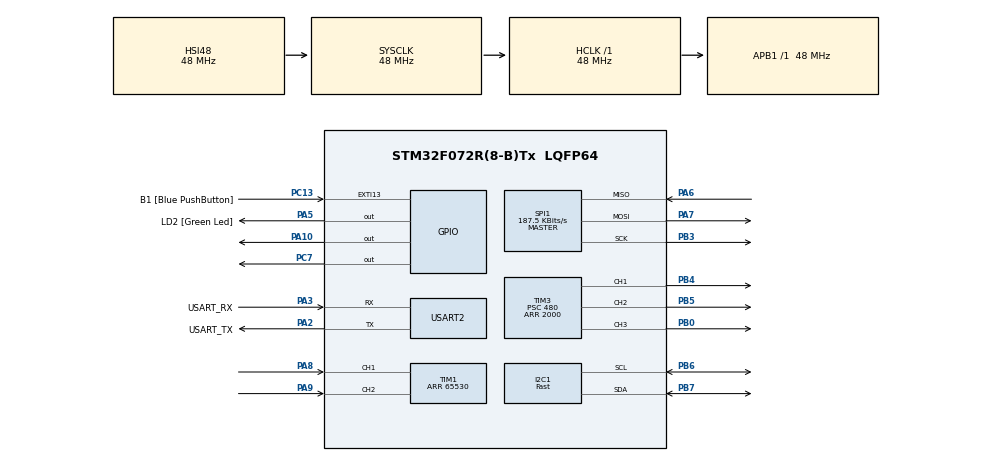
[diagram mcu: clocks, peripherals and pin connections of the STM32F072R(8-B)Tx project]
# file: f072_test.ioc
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Mcu.Family=STM32F0
PA2.GPIO_PuPd=GPIO_NOPULL
PA6.Mode=Full_Duplex_Master
I2C1.I2C_Speed_Mode=I2C_Fast
SPI1.VirtualType=VM_MASTER
PA14.GPIO_Label=TCK
Dma.TIM3_CH4/UP.0.Mode=DMA_CIRCULAR
PA3.GPIO_PuPd=GPIO_NOPULL
PA2.GPIO_Speed=GPIO_SPEED_FREQ_LOW
PC13.GPIO_Label=B1 [Blue PushButton]
PA3.GPIO_Speed=GPIO_SPEED_FREQ_LOW
RCC.SYSCLKSource=RCC_SYSCLKSOURCE_HSI48
ProjectManager.StackSize=0x400
NVIC.I2C1_IRQn=true\:0\:0\:false\:false\:true\:true\:true
SPI1.CLKPolarity=SPI_POLARITY_LOW
SPI1.Direction=SPI_DIRECTION_2LINES
RCC.HCLKFreq_Value=48000000
TIM3.Period=2000
PB6.Signal=I2C1_SCL
TIM3.OC1Preload_PWM=DISABLE
PC7.Signal=GPIO_Output
PB6.Mode=I2C
SPI1.CalculateBaudRate=187.5 KBits/s
RCC.AHBFreq_Value=48000000
TIM3.Channel-PWM\ Generation1\ CH1=TIM_CHANNEL_1
RCC.PREFETCH_ENABLE-AdvancedSettings=1
PB3.Mode=Full_Duplex_Master
USART2.VirtualMode-Asynchronous=VM_ASYNC
RCC.PLLMUL=RCC_PLL_MUL12
PC14-OSC32_IN.Mode=LSE-External-Oscillator
PA14.Mode=Serial_Wire
TIM3.Prescaler=480
PA5.GPIO_PuPd=GPIO_NOPULL
SPI1.DataSize=SPI_DATASIZE_8BIT
PB7.Signal=I2C1_SDA
PA8.Signal=S_TIM1_CH1
SH.S_TIM3_CH1.0=TIM3_CH1,PWM Generation1 CH1
RCC.FLatency-AdvancedSettings=FLASH_LATENCY_1
Mcu.Package=LQFP64
PA6.Signal=SPI1_MISO
Dma.TIM3_CH4/UP.0.Priority=DMA_PRIORITY_LOW
USART2.VirtualMode=VM_ASYNC
PA2.GPIO_Label=USART_TX
PA10.Signal=GPIO_Output
Dma.TIM3_CH4/UP.0.Direction=DMA_MEMORY_TO_PERIPH
RCC.APB1TimFreq_Value=48000000
TIM1.Period=65530
Dma.Request0=TIM3_CH4/UP
SPI1.BaudRatePrescaler=SPI_BAUDRATEPRESCALER_256
Dma.TIM3_CH4/UP.0.PeriphDataAlignment=DMA_PDATAALIGN_HALFWORD
VP_TIM3_VS_ClockSourceINT.Mode=Internal
PF1-OSC_OUT.Signal=RCC_OSC_OUT
PB4.Signal=S_TIM3_CH1
PA3.Signal=USART2_RX
PA2.GPIO_Mode=GPIO_MODE_AF_PP
PC15-OSC32_OUT.Mode=LSE-External-Oscillator
PC7.GPIO_ModeDefaultOutputPP=GPIO_MODE_OUTPUT_OD
PA7.Mode=Full_Duplex_Master
PC13.Signal=GPXTI13
SPI1.CLKPhase=SPI_PHASE_1EDGE
PC14-OSC32_IN.Signal=RCC_OSC32_IN
SH.S_TIM3_CH3.0=TIM3_CH3,PWM Generation3 CH3
PA13.Signal=SYS_SWDIO
PA3.Mode=Asynchronous
TIM3.Channel-PWM\ Generation3\ CH3=TIM_CHANNEL_3
SH.S_TIM1_CH1.0=TIM1_CH1,Encoder_Interface
ProjectManager.TargetToolchain=SW4STM32
PA3.GPIO_Mode=GPIO_MODE_AF_PP
PA9.Signal=S_TIM1_CH2
I2C1.Timing=0x0000020B
Dma.TIM3_CH4/UP.0.Instance=DMA1_Channel3
RCC.PLLDivider=RCC_PREDIV_DIV2
PC15-OSC32_OUT.Signal=RCC_OSC32_OUT
PF0-OSC_IN.Mode=HSE-External-Clock-Source
PA5.Signal=GPIO_Output
SH.S_TIM3_CH2.0=TIM3_CH2,PWM Generation2 CH2
board=NUCLEO-F072RB
SH.S_TIM1_CH2.0=TIM1_CH2,Encoder_Interface
SPI1.Mode=SPI_MODE_MASTER
Dma.TIM3_CH4/UP.0.MemInc=DMA_MINC_ENABLE
PA13.Mode=Serial_Wire
Mcu.Name=STM32F072R(8-B)Tx
PA2.Signal=USART2_TX
PA13.GPIO_Label=TMS
PB3.Signal=SPI1_SCK
RCC.SYSCLKFreq_VALUE=48000000
PB5.Signal=S_TIM3_CH2
PA5.GPIO_Label=LD2 [Green Led]
PC13.GPIO_ModeDefaultEXTI=GPIO_MODE_IT_FALLING
PB7.Mode=I2C
PA14.Signal=SYS_SWCLK
ProjectManager.HeapSize=0x200
Dma.TIM3_CH4/UP.0.MemDataAlignment=DMA_MDATAALIGN_HALFWORD
PA5.GPIO_Speed=GPIO_SPEED_FREQ_LOW
TIM3.Channel-PWM\ Generation2\ CH2=TIM_CHANNEL_2
NVIC.DMA1_Channel2_3_IRQn=true\:0\:0\:false\:false\:true\:false\:true
PA2.Mode=Asynchronous
PF0-OSC_IN.Signal=RCC_OSC_IN
RCC.APB1Freq_Value=48000000
PA5.GPIO_Mode=GPIO_MODE_OUTPUT_PP
PB0.Signal=S_TIM3_CH3
Dma.TIM3_CH4/UP.0.PeriphInc=DMA_PINC_DISABLE
PA3.GPIO_Label=USART_RX
PA7.Signal=SPI1_MOSI

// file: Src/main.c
/* USER CODE BEGIN Header */
/**
  ******************************************************************************
  * @file           : main.c
  * @brief          : Main program body
  ******************************************************************************
  * @attention
  *
  * <h2><center>&copy; Copyright (c) 2020 STMicroelectronics.
  * All rights reserved.</center></h2>
  *
  * This software component is licensed by ST under BSD 3-Clause license,
  * the "License"; You may not use this file except in compliance with the
  * License. You may obtain a copy of the License at:
  *                        opensource.org/licenses/BSD-3-Clause
  *
  ******************************************************************************
  */
/* USER CODE END Header */

#include "main.h"

I2C_HandleTypeDef hi2c1;

SPI_HandleTypeDef hspi1;

TIM_HandleTypeDef htim1;
TIM_HandleTypeDef htim3;
DMA_HandleTypeDef hdma_tim3_ch4_up;

UART_HandleTypeDef huart2;

/* USER CODE BEGIN PV */
#define AS1130_SETUP_NUM_STEPS 16
const uint8_t AS1130_setup_sizes[AS1130_SETUP_NUM_STEPS] = {
  2, 2, // CONFIG
  2, 2, // CLK
  2, 2, // CURR
  2, 2, // DSP/
  2, 2, // SHDN
  2, 2, // PIC_EN
  2, 25, // ON-OFF
  2, 157, // PX0
}; // configuration problem: can't change frames after either on-off register or pic-en it seems
const uint8_t AS1130_setup[] = {
  0xFD, 0xC0,
  0x06, 0b10100001, // CONFIG

  0xFD, 0xC0,
  0x0B, 0b1110, // CLK

  0xFD, 0xC0,
  0x05, 0x40, // CURR

  0xFD, 0xC0,
  0x04, 0xEB, // DSP

  0xFD, 0xC0,
  0x09, 0b10111, // SHDN

  0xFD, 0xC0,
  0x00, 0x40, // PIC_EN

  0xFD, 0x01, // ON-OFF
  0x00,
    0xFF, 0x07, // select PWM frame 0
    0xFF, 0x07, 0xFF, 0x07, 0xFF, 0x07, 0xFF, 0x07, 0xFF, 0x07, 0xFF, 0x07, 0xFF, 0x07, 0xFF, 0x07, 0xFF, 0x07, 0xFF, 0x07, 0xFF, 0x07,

  0xFD, 0x40,
  0x00, // PX
	0,0,0,0,0,0,0,0,0,0,0,0,0,0,0,0,0,0,0,0,0,0,0,0, // no blink
	// unset all pxs
	0, 0, 0, 0, 0, 0, 0, 0, 0, 0, 0, 0,
	0, 0, 0, 0, 0, 0, 0, 0, 0, 0, 0, 0,
	0, 0, 0, 0, 0, 0, 0, 0, 0, 0, 0, 0,
	0, 0, 0, 0, 0, 0, 0, 0, 0, 0, 0, 0,
	0, 0, 0, 0, 0, 0, 0, 0, 0, 0, 0, 0,
	0, 0, 0, 0, 0, 0, 0, 0, 0, 0, 0, 0,
	0, 0, 0, 0, 0, 0, 0, 0, 0, 0, 0, 0,
	0, 0, 0, 0, 0, 0, 0, 0, 0, 0, 0, 0,
	0, 0, 0, 0, 0, 0, 0, 0, 0, 0, 0, 0,
	0, 0, 0, 0, 0, 0, 0, 0, 0, 0, 0, 0,
	0, 0, 0, 0, 0, 0, 0, 0, 0, 0, 0, 0,

};
#define PWM_PRE_SIZE 2
uint8_t PWM_PRE[PWM_PRE_SIZE] = { 0xFD, 0x01 };
// uint8_t PWM_ADDR = 0x18;
volatile uint8_t px[PX_SIZE] = { 0 };
uint8_t e = 0;

// TEMP

uint8_t d[12] = { 0 };
uint8_t g[24] = { 0 };
uint8_t a[32] = { 0 };
const uint8_t f[2] = { 0xFD, 0x01 };
const uint8_t h[2] = { 0xFD, 0xC0 };
const uint8_t k[2] = { 0xFD, 0x40 };
uint8_t z = 0x0;
uint8_t zz = 0x20;
uint8_t zzz = 0x0E;

/* USER CODE END PV */

void SystemClock_Config(void);
static void MX_GPIO_Init(void);
static void MX_DMA_Init(void);
static void MX_USART2_UART_Init(void);
static void MX_I2C1_Init(void);
static void MX_SPI1_Init(void);
static void MX_TIM3_Init(void);
static void MX_TIM1_Init(void);
/* USER CODE BEGIN PFP */
static void AS1130_Init(void);
static void AS1130_reg_dump(void);
/* USER CODE END PFP */

/* USER CODE BEGIN 0 */
uint8_t rx[2], config[2] = {0};
/* USER CODE END 0 */

int main(void)
{

  /* MCU Configuration--------------------------------------------------------*/

  /* Reset of all peripherals, Initializes the Flash interface and the Systick. */
  HAL_Init();

  /* Configure the system clock */
  SystemClock_Config();

  /* Initialize all configured peripherals */
  MX_GPIO_Init();
  MX_DMA_Init();
  MX_USART2_UART_Init();
  MX_I2C1_Init();
  MX_SPI1_Init();
  MX_TIM3_Init();
  MX_TIM1_Init();
  /* USER CODE BEGIN 2 */
  HAL_TIM_Base_Start(&htim1);
  htim3.Instance->CCER |= TIM_CCER_CC1E | TIM_CCER_CC2E | TIM_CCER_CC3E;
  htim3.Instance->CR1 |= TIM_CR1_CEN;

//  __HAL_TIM_SET_COMPARE(&htim3, TIM_CHANNEL_1, 150);
//  __HAL_TIM_SET_COMPARE(&htim3, TIM_CHANNEL_2, 1500);
//  __HAL_TIM_SET_COMPARE(&htim3, TIM_CHANNEL_3, 1000);

  HAL_GPIO_WritePin(GPIOC, GPIO_PIN_7, RESET);
  HAL_Delay(5);
  HAL_GPIO_WritePin(GPIOC, GPIO_PIN_7, SET);
  AS1130_Init();
  HAL_Delay(50);
//  uint8_t tims[] = {150, 160, 140};
//  uint8_t tim_idx = 32;
//  __HAL_TIM_SET_COMPARE(&htim3, TIM_CHANNEL_1, 150);
  uint8_t edge = 0;
//  HAL_I2C_Master_Transmit(&hi2c1, AS1130_ADDR, px, PX_SIZE, -1);

  /* USER CODE END 2 */

  /* Infinite loop */
  /* USER CODE BEGIN WHILE */
  uint8_t i = 0;
  while(1)
  {
    /* USER CODE END WHILE */

    /* USER CODE BEGIN 3 */
//	  if(HAL_GPIO_ReadPin(B1_GPIO_Port, B1_Pin) == GPIO_PIN_RESET && !edge) {
//		  edge = 1;
//	  	  if(hi2c1.State == HAL_I2C_STATE_READY) {
////	  		  px[(i >> 3) + 1] |= 1 << (i & 7);
////	  		  for(uint8_t j = 1; j < PX_SIZE; j++) {
////	  			  px[j] = 1 << (i & 7);
////	  		  }
////	  		  px[2] &= 0x1F; // preserve PWM frame
//	  		  px[0] = 0x18 + i;
//	  		  px[1] = 0x80;
//	  		  HAL_I2C_Master_Transmit(&hi2c1, AS1130_ADDR, px, 2, -1);
//	  	  }
//  		  i++;
//	  }
//	  if(HAL_GPIO_ReadPin(B1_GPIO_Port, B1_Pin) == GPIO_PIN_SET)
//		  edge = 0;
	  for(uint8_t i = 0; i < 132; i++) {
		  if(hi2c1.State == HAL_I2C_STATE_READY) {
	//	  		  px[(i >> 3) + 1] |= 1 << (i & 7);
	//	  		  for(uint8_t j = 1; j < PX_SIZE; j++) {
	//	  			  px[j] = 1 << (i & 7);
	//	  		  }
	//	  		  px[2] &= 0x1F; // preserve PWM frame
			  px[0] = 0x18 + i;
			  px[1] = 0x00;
			  HAL_I2C_Master_Transmit(&hi2c1, AS1130_ADDR, k, 2, -1);
			  HAL_I2C_Master_Transmit(&hi2c1, AS1130_ADDR, px, 2, -1);
			  px[0] = 0x18 + ((i + 1) % 132);
			  px[1] = 0x80;
			  HAL_I2C_Master_Transmit(&hi2c1, AS1130_ADDR, px, 2, -1);
		  }
		  HAL_Delay(15);
		  AS1130_reg_dump();
	  }
//
//	  HAL_GPIO_WritePin(LD2_GPIO_Port, LD2_Pin, tim_idx & 1);

//	  HAL_GPIO_WritePin(GPIOA, GPIO_PIN_10, i & 1); // toggle select

//	  HAL_GPIO_WritePin(GPIOA, GPIO_PIN_10, GPIO_PIN_SET);
//	  HAL_Delay(1);
//	  HAL_GPIO_WritePin(GPIOA, GPIO_PIN_10, GPIO_PIN_RESET);
//	  HAL_Delay(1);
////
//	  config[0] = MCP3002_CONFIG | (i << MCP3002_ODD_SIGN_Pos);
//	  e = HAL_SPI_TransmitReceive(&hspi1, config, rx, 2, -1);
//	  rx[0]++;
  }
  /* USER CODE END 3 */
}

void SystemClock_Config(void)
{
  RCC_OscInitTypeDef RCC_OscInitStruct = {0};
  RCC_ClkInitTypeDef RCC_ClkInitStruct = {0};
  RCC_PeriphCLKInitTypeDef PeriphClkInit = {0};

  /** Initializes the CPU, AHB and APB busses clocks
  */
  RCC_OscInitStruct.OscillatorType = RCC_OSCILLATORTYPE_HSI|RCC_OSCILLATORTYPE_HSI48;
  RCC_OscInitStruct.HSIState = RCC_HSI_ON;
  RCC_OscInitStruct.HSI48State = RCC_HSI48_ON;
  RCC_OscInitStruct.HSICalibrationValue = RCC_HSICALIBRATION_DEFAULT;
  RCC_OscInitStruct.PLL.PLLState = RCC_PLL_NONE;
  if (HAL_RCC_OscConfig(&RCC_OscInitStruct) != HAL_OK)
  {
    Error_Handler();
  }
  /** Initializes the CPU, AHB and APB busses clocks
  */
  RCC_ClkInitStruct.ClockType = RCC_CLOCKTYPE_HCLK|RCC_CLOCKTYPE_SYSCLK
                              |RCC_CLOCKTYPE_PCLK1;
  RCC_ClkInitStruct.SYSCLKSource = RCC_SYSCLKSOURCE_HSI48;
  RCC_ClkInitStruct.AHBCLKDivider = RCC_SYSCLK_DIV1;
  RCC_ClkInitStruct.APB1CLKDivider = RCC_HCLK_DIV1;

  if (HAL_RCC_ClockConfig(&RCC_ClkInitStruct, FLASH_LATENCY_1) != HAL_OK)
  {
    Error_Handler();
  }
  PeriphClkInit.PeriphClockSelection = RCC_PERIPHCLK_USART2|RCC_PERIPHCLK_I2C1;
  PeriphClkInit.Usart2ClockSelection = RCC_USART2CLKSOURCE_PCLK1;
  PeriphClkInit.I2c1ClockSelection = RCC_I2C1CLKSOURCE_HSI;
  if (HAL_RCCEx_PeriphCLKConfig(&PeriphClkInit) != HAL_OK)
  {
    Error_Handler();
  }
}

static void MX_I2C1_Init(void)
{

  hi2c1.Instance = I2C1;
  hi2c1.Init.Timing = 0x0000020B;
  hi2c1.Init.OwnAddress1 = 0;
  hi2c1.Init.AddressingMode = I2C_ADDRESSINGMODE_7BIT;
  hi2c1.Init.DualAddressMode = I2C_DUALADDRESS_DISABLE;
  hi2c1.Init.OwnAddress2 = 0;
  hi2c1.Init.OwnAddress2Masks = I2C_OA2_NOMASK;
  hi2c1.Init.GeneralCallMode = I2C_GENERALCALL_DISABLE;
  hi2c1.Init.NoStretchMode = I2C_NOSTRETCH_DISABLE;
  if (HAL_I2C_Init(&hi2c1) != HAL_OK)
  {
    Error_Handler();
  }
  /** Configure Analogue filter
  */
  if (HAL_I2CEx_ConfigAnalogFilter(&hi2c1, I2C_ANALOGFILTER_ENABLE) != HAL_OK)
  {
    Error_Handler();
  }
  /** Configure Digital filter
  */
  if (HAL_I2CEx_ConfigDigitalFilter(&hi2c1, 0) != HAL_OK)
  {
    Error_Handler();
  }

}

static void MX_SPI1_Init(void)
{

  /* SPI1 parameter configuration*/
  hspi1.Instance = SPI1;
  hspi1.Init.Mode = SPI_MODE_MASTER;
  hspi1.Init.Direction = SPI_DIRECTION_2LINES;
  hspi1.Init.DataSize = SPI_DATASIZE_8BIT;
  hspi1.Init.CLKPolarity = SPI_POLARITY_LOW;
  hspi1.Init.CLKPhase = SPI_PHASE_1EDGE;
  hspi1.Init.NSS = SPI_NSS_SOFT;
  hspi1.Init.BaudRatePrescaler = SPI_BAUDRATEPRESCALER_256;
  hspi1.Init.FirstBit = SPI_FIRSTBIT_MSB;
  hspi1.Init.TIMode = SPI_TIMODE_DISABLE;
  hspi1.Init.CRCCalculation = SPI_CRCCALCULATION_DISABLE;
  hspi1.Init.CRCPolynomial = 7;
  hspi1.Init.CRCLength = SPI_CRC_LENGTH_DATASIZE;
  hspi1.Init.NSSPMode = SPI_NSS_PULSE_ENABLE;
  if (HAL_SPI_Init(&hspi1) != HAL_OK)
  {
    Error_Handler();
  }

}

static void MX_TIM1_Init(void)
{

  TIM_Encoder_InitTypeDef sConfig = {0};
  TIM_MasterConfigTypeDef sMasterConfig = {0};

  htim1.Instance = TIM1;
  htim1.Init.Prescaler = 0;
  htim1.Init.CounterMode = TIM_COUNTERMODE_UP;
  htim1.Init.Period = 65530;
  htim1.Init.ClockDivision = TIM_CLOCKDIVISION_DIV1;
  htim1.Init.RepetitionCounter = 0;
  htim1.Init.AutoReloadPreload = TIM_AUTORELOAD_PRELOAD_DISABLE;
  sConfig.EncoderMode = TIM_ENCODERMODE_TI1;
  sConfig.IC1Polarity = TIM_ICPOLARITY_RISING;
  sConfig.IC1Selection = TIM_ICSELECTION_DIRECTTI;
  sConfig.IC1Prescaler = TIM_ICPSC_DIV1;
  sConfig.IC1Filter = 0;
  sConfig.IC2Polarity = TIM_ICPOLARITY_RISING;
  sConfig.IC2Selection = TIM_ICSELECTION_DIRECTTI;
  sConfig.IC2Prescaler = TIM_ICPSC_DIV1;
  sConfig.IC2Filter = 0;
  if (HAL_TIM_Encoder_Init(&htim1, &sConfig) != HAL_OK)
  {
    Error_Handler();
  }
  sMasterConfig.MasterOutputTrigger = TIM_TRGO_RESET;
  sMasterConfig.MasterSlaveMode = TIM_MASTERSLAVEMODE_DISABLE;
  if (HAL_TIMEx_MasterConfigSynchronization(&htim1, &sMasterConfig) != HAL_OK)
  {
    Error_Handler();
  }

}

static void MX_TIM3_Init(void)
{

  TIM_ClockConfigTypeDef sClockSourceConfig = {0};
  TIM_MasterConfigTypeDef sMasterConfig = {0};
  TIM_OC_InitTypeDef sConfigOC = {0};

  htim3.Instance = TIM3;
  htim3.Init.Prescaler = 480;
  htim3.Init.CounterMode = TIM_COUNTERMODE_UP;
  htim3.Init.Period = 2000;
  htim3.Init.ClockDivision = TIM_CLOCKDIVISION_DIV1;
  htim3.Init.AutoReloadPreload = TIM_AUTORELOAD_PRELOAD_DISABLE;
  if (HAL_TIM_Base_Init(&htim3) != HAL_OK)
  {
    Error_Handler();
  }
  sClockSourceConfig.ClockSource = TIM_CLOCKSOURCE_INTERNAL;
  if (HAL_TIM_ConfigClockSource(&htim3, &sClockSourceConfig) != HAL_OK)
  {
    Error_Handler();
  }
  if (HAL_TIM_PWM_Init(&htim3) != HAL_OK)
  {
    Error_Handler();
  }
  sMasterConfig.MasterOutputTrigger = TIM_TRGO_RESET;
  sMasterConfig.MasterSlaveMode = TIM_MASTERSLAVEMODE_DISABLE;
  if (HAL_TIMEx_MasterConfigSynchronization(&htim3, &sMasterConfig) != HAL_OK)
  {
    Error_Handler();
  }
  sConfigOC.OCMode = TIM_OCMODE_PWM1;
  sConfigOC.Pulse = 0;
  sConfigOC.OCPolarity = TIM_OCPOLARITY_HIGH;
  sConfigOC.OCFastMode = TIM_OCFAST_DISABLE;
  if (HAL_TIM_PWM_ConfigChannel(&htim3, &sConfigOC, TIM_CHANNEL_1) != HAL_OK)
  {
    Error_Handler();
  }
  __HAL_TIM_DISABLE_OCxPRELOAD(&htim3, TIM_CHANNEL_1);
  if (HAL_TIM_PWM_ConfigChannel(&htim3, &sConfigOC, TIM_CHANNEL_2) != HAL_OK)
  {
    Error_Handler();
  }
  if (HAL_TIM_PWM_ConfigChannel(&htim3, &sConfigOC, TIM_CHANNEL_3) != HAL_OK)
  {
    Error_Handler();
  }
  HAL_TIM_MspPostInit(&htim3);

}

static void MX_USART2_UART_Init(void)
{

  huart2.Instance = USART2;
  huart2.Init.BaudRate = 38400;
  huart2.Init.WordLength = UART_WORDLENGTH_8B;
  huart2.Init.StopBits = UART_STOPBITS_1;
  huart2.Init.Parity = UART_PARITY_NONE;
  huart2.Init.Mode = UART_MODE_TX_RX;
  huart2.Init.HwFlowCtl = UART_HWCONTROL_NONE;
  huart2.Init.OverSampling = UART_OVERSAMPLING_16;
  huart2.Init.OneBitSampling = UART_ONE_BIT_SAMPLE_DISABLE;
  huart2.AdvancedInit.AdvFeatureInit = UART_ADVFEATURE_NO_INIT;
  if (HAL_UART_Init(&huart2) != HAL_OK)
  {
    Error_Handler();
  }

}

static void MX_DMA_Init(void)
{

  /* DMA controller clock enable */
  __HAL_RCC_DMA1_CLK_ENABLE();

  /* DMA interrupt init */
  /* DMA1_Channel2_3_IRQn interrupt configuration */
  HAL_NVIC_SetPriority(DMA1_Channel2_3_IRQn, 0, 0);
  HAL_NVIC_EnableIRQ(DMA1_Channel2_3_IRQn);

}

static void MX_GPIO_Init(void)
{
  GPIO_InitTypeDef GPIO_InitStruct = {0};

  /* GPIO Ports Clock Enable */
  __HAL_RCC_GPIOC_CLK_ENABLE();
  __HAL_RCC_GPIOF_CLK_ENABLE();
  __HAL_RCC_GPIOA_CLK_ENABLE();
  __HAL_RCC_GPIOB_CLK_ENABLE();

  /*Configure GPIO pin Output Level */
  HAL_GPIO_WritePin(GPIOA, LD2_Pin|GPIO_PIN_10, GPIO_PIN_RESET);

  /*Configure GPIO pin Output Level */
  HAL_GPIO_WritePin(GPIOC, GPIO_PIN_7, GPIO_PIN_RESET);

  /*Configure GPIO pin : B1_Pin */
  GPIO_InitStruct.Pin = B1_Pin;
  GPIO_InitStruct.Mode = GPIO_MODE_IT_FALLING;
  GPIO_InitStruct.Pull = GPIO_NOPULL;
  HAL_GPIO_Init(B1_GPIO_Port, &GPIO_InitStruct);

  /*Configure GPIO pins : LD2_Pin PA10 */
  GPIO_InitStruct.Pin = LD2_Pin|GPIO_PIN_10;
  GPIO_InitStruct.Mode = GPIO_MODE_OUTPUT_PP;
  GPIO_InitStruct.Pull = GPIO_NOPULL;
  GPIO_InitStruct.Speed = GPIO_SPEED_FREQ_LOW;
  HAL_GPIO_Init(GPIOA, &GPIO_InitStruct);

  /*Configure GPIO pin : PC7 */
  GPIO_InitStruct.Pin = GPIO_PIN_7;
  GPIO_InitStruct.Mode = GPIO_MODE_OUTPUT_OD;
  GPIO_InitStruct.Pull = GPIO_NOPULL;
  GPIO_InitStruct.Speed = GPIO_SPEED_FREQ_LOW;
  HAL_GPIO_Init(GPIOC, &GPIO_InitStruct);

}

/* USER CODE BEGIN 4 */
void AS1130_Init(void) {
	HAL_Delay(10); // give AS1130 >5ms to setup I2C address (as spec'd)
          // HAL_GPIO_TogglePin(GPIOB, GPIO_PIN_8);

  uint8_t step = 0;
	for(uint8_t i = 0; i < AS1130_SETUP_NUM_STEPS; i++) {
    e = HAL_I2C_Master_Transmit(&hi2c1, AS1130_ADDR, &(AS1130_setup[step]), AS1130_setup_sizes[i], -1);
    // e = HAL_I2C_Master_Transmit(&hi2c1, AS1130_ADDR, &(AS1130_setup[step]), 1, -1);
    // e = HAL_I2C_Master_Receive(&hi2c1, AS1130_ADDR, d, 1, -1);
    step += AS1130_setup_sizes[i];

//    if(hi2c1.ErrorCode != 0)
//      HAL_GPIO_WritePin(GPIOB, GPIO_PIN_8, GPIO_PIN_SET);
  }
}
void AS1130_reg_dump(void) {
  HAL_I2C_Master_Transmit(&hi2c1, AS1130_ADDR, h, 2, -1);
  HAL_I2C_Master_Transmit(&hi2c1, AS1130_ADDR, &zzz, 1, -1);
  HAL_I2C_Master_Receive(&hi2c1, AS1130_ADDR, d, 1, -1);

  HAL_I2C_Master_Transmit(&hi2c1, AS1130_ADDR, h, 2, -1);
  HAL_I2C_Master_Transmit(&hi2c1, AS1130_ADDR, &zz, 1, -1);
  HAL_I2C_Master_Receive(&hi2c1, AS1130_ADDR, g, 1, -1);

  g[0]++;
//  HAL_I2C_Master_Transmit(&hi2c1, AS1130_ADDR, k, 2, -1);
//  HAL_I2C_Master_Transmit(&hi2c1, AS1130_ADDR, &z, 1, -1);
//  HAL_I2C_Master_Receive(&hi2c1, AS1130_ADDR, a, 32, -1);
}

/* USER CODE END 4 */

void Error_Handler(void)
{
}

/************************ (C) COPYRIGHT STMicroelectronics *****END OF FILE****/
